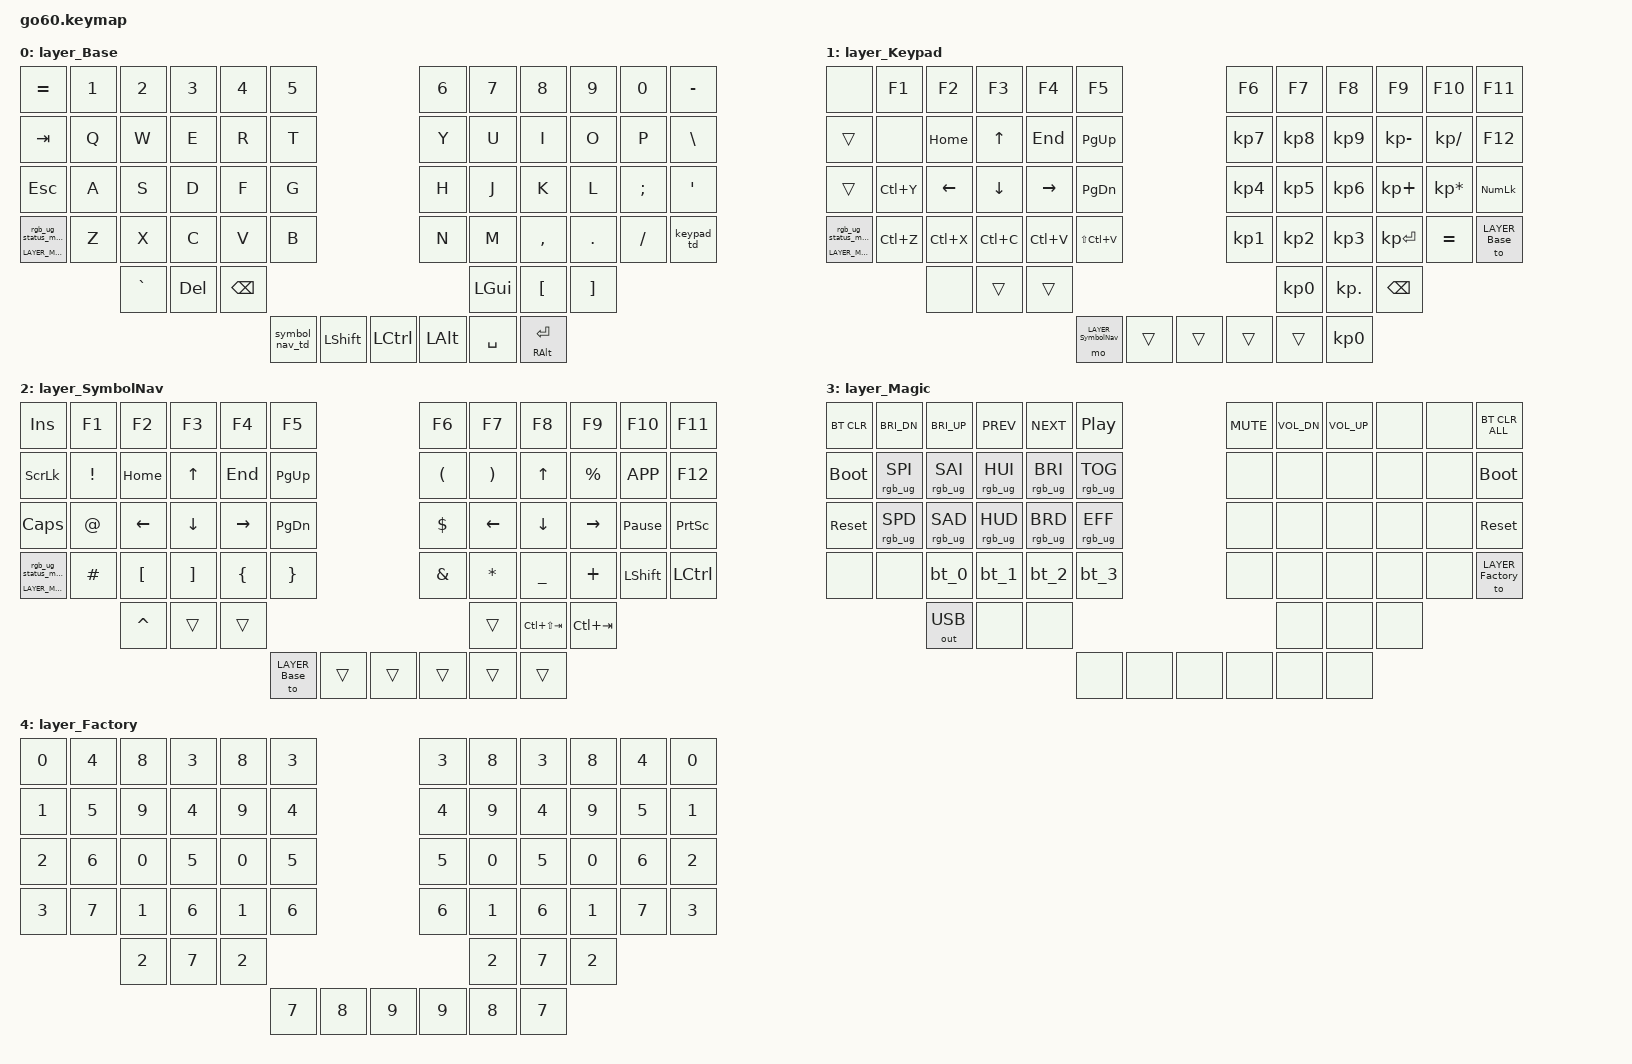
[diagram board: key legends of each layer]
/*
 * Copyright (c) 2020 The ZMK Contributors
 *
 * SPDX-License-Identifier: MIT
 */

#include <behaviors.dtsi>

#include <dt-bindings/zmk/bt.h>
#include <dt-bindings/zmk/ext_power.h>
#include <dt-bindings/zmk/keys.h>
#include <dt-bindings/zmk/outputs.h>
#include <dt-bindings/zmk/rgb.h>
#include <dt-bindings/zmk/input_transform.h>
#include <dt-bindings/zmk/pointing.h>

#include <input/processors.dtsi>
#include <zephyr/dt-bindings/input/input-event-codes.h>

// layers
#define LAYER_Base 0
#define LAYER_Keypad 1
#define LAYER_SymbolNav 2
#define LAYER_Magic 3
#define LAYER_Factory 4

/ {
    input_processors {
        zip_click_to_right_click_mapper: zip_click_to_right_click_mapper {
            compatible = "zmk,input-processor-code-mapper";
            #input-processor-cells = <0>;
            type = <INPUT_EV_KEY>;
            map = <INPUT_BTN_0 INPUT_BTN_1>;
        };
    };

    behaviors {
        magic: magic {
            compatible = "zmk,behavior-hold-tap";
            #binding-cells = <2>;
            flavor = "tap-preferred";
            tapping-term-ms = <200>;
            bindings = <&mo>, <&rgb_ug_status_macro>;
        };

        keypad_td: keypad_td {
            compatible = "zmk,behavior-tap-dance";
            #binding-cells = <0>;
            tapping-term-ms = <200>;
            bindings = <&mo LAYER_Keypad>, <&to LAYER_Keypad>;
        };

        symbol_nav_td: symbol_nav_td {
            compatible = "zmk,behavior-tap-dance";
            #binding-cells = <0>;
            tapping-term-ms = <200>;
            bindings = <&mo LAYER_SymbolNav>, <&to LAYER_SymbolNav>;
        };

        bt_0: bt_0 {
            compatible = "zmk,behavior-tap-dance";
            #binding-cells = <0>;
            tapping-term-ms = <200>;
            bindings = <&bt_select_0>, <&bt BT_DISC 0>;
        };
        bt_1: bt_1 {
            compatible = "zmk,behavior-tap-dance";
            #binding-cells = <0>;
            tapping-term-ms = <200>;
            bindings = <&bt_select_1>, <&bt BT_DISC 1>;
        };
        bt_2: bt_2 {
            compatible = "zmk,behavior-tap-dance";
            #binding-cells = <0>;
            tapping-term-ms = <200>;
            bindings = <&bt_select_2>, <&bt BT_DISC 2>;
        };
        bt_3: bt_3 {
            compatible = "zmk,behavior-tap-dance";
            #binding-cells = <0>;
            tapping-term-ms = <200>;
            bindings = <&bt_select_3>, <&bt BT_DISC 3>;
        };
    };

    macros {
        rgb_ug_status_macro: rgb_ug_status_macro {
            compatible = "zmk,behavior-macro";
            #binding-cells = <0>;
            bindings = <&rgb_ug RGB_STATUS>;
        };

        bt_select_0: bt_select_0 {
            compatible = "zmk,behavior-macro";
            #binding-cells = <0>;
            bindings
                = <&out OUT_BLE>,
                  <&bt BT_SEL 0>;
        };
        bt_select_1: bt_select_1 {
            compatible = "zmk,behavior-macro";
            #binding-cells = <0>;
            bindings
                = <&out OUT_BLE>,
                  <&bt BT_SEL 1>;
        };
        bt_select_2: bt_select_2 {
            compatible = "zmk,behavior-macro";
            #binding-cells = <0>;
            bindings
                = <&out OUT_BLE>,
                  <&bt BT_SEL 2>;
        };
        bt_select_3: bt_select_3 {
            compatible = "zmk,behavior-macro";
            #binding-cells = <0>;
            bindings
                = <&out OUT_BLE>,
                  <&bt BT_SEL 3>;
        };
        niri_swipe_l: niri_swipe_l {
            compatible = "zmk,behavior-macro";
            #binding-cells = <0>;
            wait-ms = <20>;
            tap-ms = <20>;
            bindings = <&kp LG(LEFT)>;
        };
        niri_swipe_r: niri_swipe_r {
            compatible = "zmk,behavior-macro";
            #binding-cells = <0>;
            wait-ms = <20>;
            tap-ms = <20>;
            bindings = <&kp LG(RIGHT)>;
        };
        niri_swipe_u: niri_swipe_u {
            compatible = "zmk,behavior-macro";
            #binding-cells = <0>;
            wait-ms = <20>;
            tap-ms = <20>;
            bindings = <&kp LG(PG_UP)>;
        };
        niri_swipe_d: niri_swipe_d {
            compatible = "zmk,behavior-macro";
            #binding-cells = <0>;
            wait-ms = <20>;
            tap-ms = <20>;
            bindings = <&kp LG(PG_DN)>;
        };
    };

    keymap {
        compatible = "zmk,keymap";
        layer_Base {
            bindings = <
            &kp EQUAL  &kp N1     &kp N2   &kp N3    &kp N4  &kp N5                                                      &kp N6    &kp N7     &kp N8    &kp N9    &kp N0           &kp MINUS
              &kp TAB   &kp Q      &kp W    &kp E     &kp R   &kp T                                                       &kp Y     &kp U      &kp I     &kp O     &kp P            &kp BSLH
              &kp ESC   &kp A      &kp S    &kp D     &kp F   &kp G                                                       &kp H     &kp J      &kp K     &kp L  &kp SEMI             &kp SQT
 &magic LAYER_Magic 0   &kp Z      &kp X    &kp C     &kp V   &kp B                                                       &kp N     &kp M  &kp COMMA   &kp DOT  &kp FSLH          &keypad_td
                               &kp GRAVE  &kp DEL  &kp BSPC                                                                      &kp LGUI   &kp LBKT  &kp RBKT
                                                     &symbol_nav_td  &kp LSHFT  &kp LCTRL     &kp LALT  &kp SPACE  &mt RALT RET
            >;
        };

        layer_Keypad {
            bindings = <
                &none     &kp F1     &kp F2     &kp F3     &kp F4         &kp F5                                                 &kp F6     &kp F7      &kp F8        &kp F9          &kp F10        &kp F11
               &trans      &none   &kp HOME     &kp UP    &kp END      &kp PG_UP                                              &kp KP_N7  &kp KP_N8   &kp KP_N9  &kp KP_MINUS     &kp KP_SLASH        &kp F12
               &trans  &kp LC(Y)   &kp LEFT   &kp DOWN  &kp RIGHT      &kp PG_DN                                              &kp KP_N4  &kp KP_N5   &kp KP_N6   &kp KP_PLUS  &kp KP_MULTIPLY     &kp KP_NUM
 &magic LAYER_Magic 0  &kp LC(Z)  &kp LC(X)  &kp LC(C)  &kp LC(V)  &kp LS(LC(V))                                              &kp KP_N1  &kp KP_N2   &kp KP_N3  &kp KP_ENTER        &kp EQUAL &to LAYER_Base
                                      &none     &trans     &trans                                                                        &kp KP_N0  &kp KP_DOT      &kp BSPC
                                                             &mo LAYER_SymbolNav  &trans  &trans              &trans  &trans  &kp KP_N0
            >;
        };

        layer_SymbolNav {
            bindings = <
              &kp INS    &kp F1     &kp F2    &kp F3     &kp F4     &kp F5                                       &kp F6    &kp F7           &kp F8       &kp F9          &kp F10    &kp F11
             &kp SLCK  &kp EXCL   &kp HOME    &kp UP    &kp END  &kp PG_UP                                     &kp LPAR  &kp RPAR           &kp UP    &kp PRCNT        &kp K_APP    &kp F12
             &kp CAPS    &kp AT   &kp LEFT  &kp DOWN  &kp RIGHT  &kp PG_DN                                     &kp DLLR  &kp LEFT         &kp DOWN    &kp RIGHT  &kp PAUSE_BREAK  &kp PSCRN
 &magic LAYER_Magic 0  &kp HASH   &kp LBKT  &kp RBKT   &kp LBRC   &kp RBRC                                     &kp AMPS  &kp STAR        &kp UNDER     &kp PLUS        &kp LSHFT  &kp LCTRL
                                 &kp CARET    &trans     &trans                                                            &trans  &kp LC(LS(TAB))  &kp LC(TAB)
                                                            &to LAYER_Base  &trans  &trans       &trans  &trans  &trans
            >;
        };

        layer_Magic {
            bindings = <
  &bt BT_CLR     &kp C_BRI_DN     &kp C_BRI_UP       &kp C_PREV       &kp C_NEXT         &kp C_PP                                &kp C_MUTE  &kp C_VOL_DN  &kp C_VOL_UP   &none   &none    &bt BT_CLR_ALL
 &bootloader  &rgb_ug RGB_SPI  &rgb_ug RGB_SAI  &rgb_ug RGB_HUI  &rgb_ug RGB_BRI  &rgb_ug RGB_TOG                                     &none         &none         &none   &none   &none       &bootloader
  &sys_reset  &rgb_ug RGB_SPD  &rgb_ug RGB_SAD  &rgb_ug RGB_HUD  &rgb_ug RGB_BRD  &rgb_ug RGB_EFF                                     &none         &none         &none   &none   &none        &sys_reset
       &none            &none            &bt_0            &bt_1            &bt_2            &bt_3                                     &none         &none         &none   &none   &none &to LAYER_Factory
                                  &out OUT_USB            &none            &none                                                                    &none         &none   &none
                                                                                            &none   &none   &none     &none   &none   &none
            >;
        };

        layer_Factory {
            bindings = <
 &kp N0  &kp N4  &kp N8  &kp N3  &kp N8  &kp N3                                       &kp N3  &kp N8  &kp N3  &kp N8  &kp N4  &kp N0
 &kp N1  &kp N5  &kp N9  &kp N4  &kp N9  &kp N4                                       &kp N4  &kp N9  &kp N4  &kp N9  &kp N5  &kp N1
 &kp N2  &kp N6  &kp N0  &kp N5  &kp N0  &kp N5                                       &kp N5  &kp N0  &kp N5  &kp N0  &kp N6  &kp N2
 &kp N3  &kp N7  &kp N1  &kp N6  &kp N1  &kp N6                                       &kp N6  &kp N1  &kp N6  &kp N1  &kp N7  &kp N3
                 &kp N2  &kp N7  &kp N2                                                       &kp N2  &kp N7  &kp N2
                                          &kp N7  &kp N8  &kp N9      &kp N9  &kp N8  &kp N7
            >;
        };
    };
};

/ {
    input_processors {
        zip_gesture_pad: zip_gesture_pad {
            compatible = "zmk,input-processor-gesture";
            #input-processor-cells = <0>;
            
            x-threshold = <30>;
            y-threshold = <30>;
            cooldown-ms = <250>;

            swipe-left-behaviors  = <&niri_swipe_l>;
            swipe-right-behaviors = <&niri_swipe_r>;  
            swipe-up-behaviors    = <&niri_swipe_u>;  
            swipe-down-behaviors  = <&niri_swipe_d>;  
        };
    };
};

&cirque_rh_listener {
    input-processors = <&zip_xy_scaler 2 1>;
    layer_2 {
        layers = <LAYER_SymbolNav>; 
        input-processors = <&zip_gesture_pad>;
    };
};

&cirque_lh_listener {
    input-processors = <&zip_xy_to_scroll_mapper>, <&zip_xy_scaler 1 8>, <&zip_click_to_right_click_mapper>;
    layer_4 {
        layers = <4>;
        input-processors = <&zip_xy_scaler 2 1>;
    };
};
